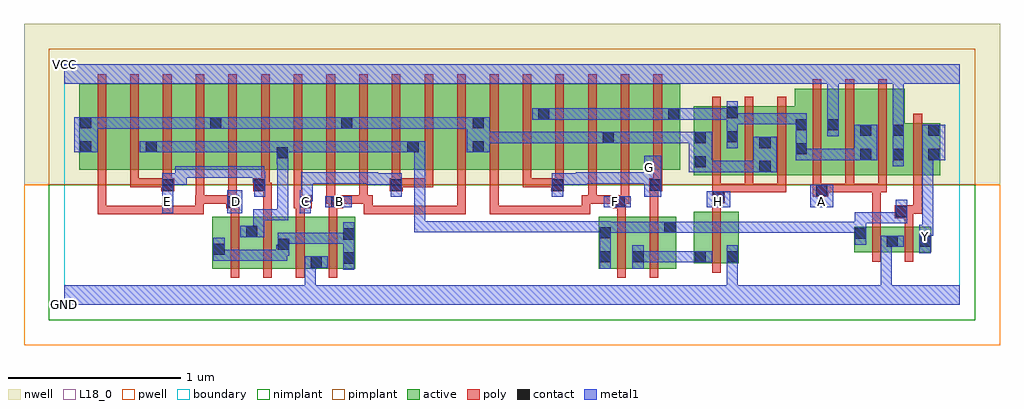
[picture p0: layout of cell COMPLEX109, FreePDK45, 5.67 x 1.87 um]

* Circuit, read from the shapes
.subckt COMPLEX109 A B C D E F G GND H VCC Y
M1 n1 D n2 VSUBS nfet w=0.3u l=0.05u
M2 n2 E n1 VSUBS nfet w=0.3u l=0.05u
M3 GND C n2 VSUBS nfet w=0.3u l=0.05u
M4 n2 B GND VSUBS nfet w=0.3u l=0.05u
M5 n3 F n1 VSUBS nfet w=0.3u l=0.05u
M6 n1 G n3 VSUBS nfet w=0.3u l=0.05u
M7 GND H n3 VSUBS nfet w=0.3u l=0.05u
M8 GND A n1 VSUBS nfet w=0.15u l=0.05u
M9 Y n1 GND VSUBS nfet w=0.15u l=0.05u
M10 n4 D n5 n6 pfet w=0.5u l=0.05u
M11 n1 E n4 n6 pfet w=0.5u l=0.05u
M12 n7 E n1 n6 pfet w=0.5u l=0.05u
M13 n5 D n7 n6 pfet w=0.5u l=0.05u
M14 n8 D n5 n6 pfet w=0.5u l=0.05u
M15 n1 E n8 n6 pfet w=0.5u l=0.05u
M16 n9 C n1 n6 pfet w=0.5u l=0.05u
M17 n5 B n9 n6 pfet w=0.5u l=0.05u
M18 n10 B n5 n6 pfet w=0.5u l=0.05u
M19 n1 C n10 n6 pfet w=0.5u l=0.05u
M20 n11 C n1 n6 pfet w=0.5u l=0.05u
M21 n5 B n11 n6 pfet w=0.5u l=0.05u
M22 n12 F n5 n6 pfet w=0.5u l=0.05u
M23 n13 G n12 n6 pfet w=0.5u l=0.05u
M24 n14 G n13 n6 pfet w=0.5u l=0.05u
M25 n5 F n14 n6 pfet w=0.5u l=0.05u
M26 n15 F n5 n6 pfet w=0.5u l=0.05u
M27 n13 G n15 n6 pfet w=0.5u l=0.05u
M28 n13 H n5 n6 pfet w=0.4u l=0.05u m=3
M29 VCC A n13 n6 pfet w=0.5u l=0.05u m=3
M30 Y n1 VCC n6 pfet w=0.3u l=0.05u
.ends

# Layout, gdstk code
import gdstk
lib = gdstk.Library(unit=1e-6, precision=1e-09)
def R(c, l, rs):  # rectangles x0, y0, x1, y1
    for r in rs: c.add(gdstk.rectangle(r[:2], r[2:], *l))
def A(c, l, x, y, w, h, nx, ny, dx, dy):  # array of equal rectangles
    R(c, l, [(x+i*dx, y+j*dy, x+i*dx+w, y+j*dy+h) for i in range(nx) for j in range(ny)])
active = (1, 0)
pwell = (2, 0)
nwell = (3, 0)
nimplant = (4, 0)
pimplant = (5, 0)
poly = (9, 0)
contact = (10, 0)
metal1 = (11, 0)
L18_0 = (18, 0)
boundary = (235, 0)

complex109 = lib.new_cell('COMPLEX109')
A(complex109, active, 1.832, 0.785, 0.23, 0.5, 3, 1, 0.38, 0)
A(complex109, active, 1.987, 0.785, 0.225, 0.5, 3, 1, 0.38, 0)
R(complex109, active, [(0.86,0.212,1.125,0.512), (1.05,0.212,1.31,0.512), (1.235,0.212,1.5,0.512), (1.235,0.212,1.31,0.497), (1.425,0.212,1.69,0.512), (1.425,0.212,1.5,0.377), (1.615,0.212,1.69,0.512), (3.105,0.212,3.37,0.512), (3.105,0.212,3.18,0.512), (3.295,0.212,3.555,0.512), (3.295,0.242,3.37,0.377), (3.657,0.242,3.732,0.392), (3.657,0.242,3.917,0.542), (3.842,0.242,3.917,0.392), (0.86,0.287,0.935,0.512), (4.587,0.305,4.847,0.455), (4.772,0.305,5.037,0.455), (4.772,0.305,4.847,0.407), (4.962,0.305,5.037,0.455), (3.48,0.33,3.555,0.512), (1.05,0.332,1.125,0.465), (4.587,0.38,4.662,0.455), (3.657,0.755,3.732,1.07), (3.657,0.755,3.917,1.155), (3.842,0.755,4.107,1.155), (4.032,0.755,4.317,1.155), (4.032,0.755,4.107,1.07), (4.242,0.755,4.502,1.255), (4.242,0.755,4.317,1.2), (4.427,0.755,4.692,1.255), (4.617,0.755,4.882,1.255), (4.807,0.755,4.882,1.055), (4.807,0.755,5.087,1.055), (5.012,0.755,5.087,1.055), (0.087,0.785,0.312,1.285), (0.087,0.785,0.192,1.2), (0.312,0.785,0.542,1.285), (0.467,0.785,0.692,1.285), (0.692,0.785,0.917,1.285), (0.842,0.785,1.072,1.285), (1.072,0.785,1.302,1.285), (1.227,0.785,1.452,1.285), (1.452,0.785,1.677,1.285), (1.602,0.785,1.832,1.285), (1.987,0.785,2.062,1.07), (2.972,0.785,3.197,1.285), (3.122,0.785,3.352,1.285), (3.352,0.785,3.577,1.285), (0.467,0.807,0.542,1.07), (0.842,0.807,0.917,1.2), (1.227,0.807,1.302,1.07), (1.602,0.807,1.677,1.2), (2.367,0.807,2.442,1.2), (2.747,0.807,2.822,1.2), (3.122,0.807,3.197,1.07), (3.502,0.807,3.577,1.2), (4.427,0.807,4.502,1.255), (4.617,0.807,4.692,1.2), (3.842,0.822,3.917,1.155)])
R(complex109, pwell, [(-0.235,-0.235,5.435,0.7)])
R(complex109, nwell, [(-0.235,0.7,5.435,1.635)])
R(complex109, nimplant, [(-0.09,-0.09,5.29,0.7)])
R(complex109, pimplant, [(-0.09,0.7,5.29,1.49)])
A(complex109, poly, 0.965, 0.157, 0.05, 0.41, 4, 1, 0.19, 0)
A(complex109, poly, 1.332, 0.587, 0.05, 0.193, 3, 1, 0.19, 0)
A(complex109, poly, 3.762, 0.655, 0.05, 0.095, 3, 1, 0.19, 0)
A(complex109, poly, 4.347, 0.655, 0.05, 0.095, 3, 1, 0.19, 0)
A(complex109, poly, 3.762, 0.7, 0.05, 0.51, 3, 1, 0.19, 0)
A(complex109, poly, 4.347, 0.7, 0.05, 0.61, 3, 1, 0.19, 0)
A(complex109, poly, 0.192, 0.73, 0.05, 0.61, 18, 1, 0.19, 0)
R(complex109, poly, [(3.21,0.157,3.26,0.567), (3.4,0.157,3.45,0.567), (3.762,0.187,3.812,0.597), (4.692,0.25,4.742,0.51), (4.882,0.25,4.932,0.51), (4.692,0.46,4.742,0.705), (4.882,0.46,4.932,0.555), (4.825,0.505,4.932,0.58), (0.965,0.517,1.015,0.612), (1.155,0.517,1.205,0.71), (1.345,0.517,1.395,0.612), (1.535,0.517,1.585,0.612), (3.21,0.517,3.26,0.612), (3.4,0.517,3.45,0.71), (0.192,0.527,0.242,0.577), (0.192,0.527,0.242,0.577), (0.192,0.527,0.242,0.577), (0.192,0.527,0.242,0.577), (0.192,0.527,0.242,0.577), (0.192,0.527,0.432,0.577), (0.192,0.527,0.242,0.78), (0.382,0.527,0.432,0.577), (0.382,0.527,0.565,0.577), (0.515,0.527,0.565,0.577), (0.515,0.527,0.565,0.577), (0.515,0.527,0.565,0.577), (0.515,0.527,0.81,0.577), (0.76,0.527,0.81,0.577), (0.76,0.527,0.81,0.577), (0.76,0.527,0.81,0.577), (0.76,0.527,0.81,0.637), (1.74,0.527,1.79,0.577), (1.74,0.527,1.79,0.637), (1.74,0.527,1.895,0.577), (1.845,0.527,1.895,0.577), (1.845,0.527,2.097,0.577), (2.047,0.527,2.097,0.577), (2.047,0.527,2.097,0.577), (2.047,0.527,2.097,0.577), (2.047,0.527,2.332,0.577), (2.282,0.527,2.332,0.577), (2.282,0.527,2.332,0.577), (2.282,0.527,2.332,0.577), (2.282,0.527,2.332,0.577), (2.282,0.527,2.332,0.577), (2.282,0.527,2.332,0.78), (2.472,0.527,2.522,0.577), (2.472,0.527,2.522,0.577), (2.472,0.527,2.522,0.577), (2.472,0.527,2.522,0.577), (2.472,0.527,2.522,0.577), (2.472,0.527,2.655,0.577), (2.472,0.527,2.522,0.78), (2.605,0.527,2.655,0.577), (2.605,0.527,2.845,0.577), (2.795,0.527,2.845,0.577), (2.795,0.527,2.845,0.577), (2.795,0.527,2.845,0.577), (2.795,0.527,3.055,0.577), (3.005,0.527,3.055,0.577), (3.005,0.527,3.055,0.637), (4.882,0.53,4.932,0.58), (4.882,0.53,4.982,0.58), (4.932,0.53,4.982,0.75), (3.762,0.547,3.812,0.642), (0.94,0.562,1.015,0.637), (1.332,0.562,1.437,0.637), (1.345,0.562,1.395,0.612), (1.345,0.562,1.395,0.612), (1.535,0.562,1.62,0.637), (3.185,0.562,3.26,0.637), (0.76,0.587,0.812,0.637), (0.762,0.587,1.002,0.637), (0.762,0.587,0.812,0.78), (0.952,0.587,1.002,0.637), (0.952,0.587,1.002,0.637), (0.952,0.587,1.002,0.637), (0.952,0.587,1.002,0.637), (0.952,0.587,1.002,0.78), (1.522,0.587,1.585,0.637), (1.535,0.587,1.585,0.637), (1.535,0.587,1.585,0.637), (1.535,0.587,1.585,0.637), (1.535,0.587,1.762,0.637), (1.712,0.587,1.762,0.637), (1.712,0.587,1.79,0.637), (1.74,0.587,1.79,0.637), (3.005,0.587,3.055,0.637), (3.005,0.587,3.092,0.637), (3.042,0.587,3.092,0.637), (3.042,0.587,3.092,0.78), (3.042,0.587,3.26,0.637), (3.21,0.587,3.26,0.637), (3.21,0.587,3.26,0.637), (3.21,0.587,3.26,0.637), (3.21,0.587,3.282,0.637), (3.232,0.587,3.282,0.78), (3.762,0.592,3.812,0.642), (3.762,0.592,3.812,0.642), (3.762,0.592,3.837,0.705), (4.347,0.63,4.437,0.705), (3.787,0.655,3.837,0.705), (3.787,0.655,3.837,0.705), (3.787,0.655,4.002,0.705), (3.952,0.655,4.002,0.705), (3.952,0.655,4.002,0.705), (3.952,0.655,4.002,0.705), (3.952,0.655,4.192,0.705), (4.142,0.655,4.192,0.705), (4.387,0.655,4.587,0.705), (4.537,0.655,4.587,0.705), (4.537,0.655,4.587,0.705), (4.537,0.655,4.587,0.705), (4.537,0.655,4.742,0.705), (4.692,0.655,4.742,0.705), (4.692,0.655,4.742,0.705), (4.692,0.655,4.742,0.705), (4.692,0.655,4.742,0.705), (4.692,0.655,4.777,0.705), (0.562,0.66,0.637,0.735), (1.097,0.66,1.192,0.735), (1.142,0.66,1.192,0.71), (1.142,0.66,1.205,0.71), (1.89,0.66,1.965,0.735), (2.827,0.66,2.902,0.735), (3.397,0.66,3.472,0.735), (3.4,0.66,3.45,0.71), (3.4,0.66,3.45,0.71), (0.382,0.685,0.432,0.735), (0.382,0.685,0.432,0.735), (0.382,0.685,0.432,0.735), (0.382,0.685,0.432,0.78), (0.382,0.685,0.612,0.735), (0.572,0.685,0.622,0.78), (1.142,0.685,1.192,0.78), (1.902,0.685,1.952,0.78), (1.915,0.685,1.965,0.735), (1.915,0.685,1.965,0.735), (1.915,0.685,2.142,0.735), (2.092,0.685,2.142,0.735), (2.092,0.685,2.142,0.78), (2.662,0.685,2.712,0.735), (2.662,0.685,2.712,0.78), (2.662,0.685,2.877,0.735), (2.827,0.685,2.877,0.735), (2.827,0.685,2.877,0.735), (2.852,0.685,2.902,0.78), (3.422,0.685,3.472,0.78), (4.932,0.7,4.982,1.11)])
R(complex109, contact, [(1.43,0.217,1.495,0.282), (1.62,0.24,1.685,0.305), (3.11,0.247,3.175,0.312), (3.3,0.247,3.365,0.312), (3.662,0.247,3.727,0.312), (3.847,0.247,3.912,0.312), (0.865,0.292,0.93,0.357), (1.24,0.32,1.305,0.385), (4.777,0.337,4.842,0.402), (4.967,0.337,5.032,0.402), (1.62,0.38,1.685,0.445), (4.592,0.385,4.657,0.45), (3.11,0.387,3.175,0.452), (1.055,0.395,1.12,0.46), (3.485,0.42,3.55,0.485), (4.83,0.51,4.895,0.575), (0.945,0.567,1.01,0.632), (1.367,0.567,1.432,0.632), (1.55,0.567,1.615,0.632), (3.19,0.567,3.255,0.632), (3.767,0.597,3.832,0.662), (4.367,0.635,4.432,0.7), (0.567,0.665,0.632,0.73), (1.102,0.665,1.167,0.73), (1.895,0.665,1.96,0.73), (2.832,0.665,2.897,0.73), (3.402,0.665,3.467,0.73), (4.037,0.772,4.102,0.837), (3.662,0.8,3.727,0.865), (4.622,0.842,4.687,0.907), (4.812,0.842,4.877,0.907), (5.017,0.842,5.082,0.907), (1.232,0.852,1.297,0.917), (4.247,0.875,4.312,0.94), (0.092,0.887,0.157,0.952), (0.472,0.887,0.537,0.952), (1.992,0.887,2.057,0.952), (2.372,0.887,2.437,0.952), (4.037,0.912,4.102,0.977), (3.127,0.94,3.192,1.005), (3.662,0.94,3.727,1.005), (3.847,0.945,3.912,1.01), (4.622,0.982,4.687,1.047), (4.812,0.982,4.877,1.047), (5.017,0.982,5.082,1.047), (4.247,1.015,4.312,1.08), (4.432,1.015,4.497,1.08), (0.847,1.025,0.912,1.09), (1.607,1.025,1.672,1.09), (0.092,1.027,0.157,1.092), (2.372,1.027,2.437,1.092), (2.752,1.077,2.817,1.142), (3.507,1.077,3.572,1.142), (3.847,1.085,3.912,1.15)])
R(complex109, metal1, [(0,0,5.2,0.115), (1.395,0.05,1.46,0.115), (1.395,0.05,1.46,0.115), (1.395,0.05,1.46,0.282), (3.847,0.05,3.912,0.115), (3.847,0.05,3.912,0.115), (3.847,0.05,3.912,0.277), (4.742,0.05,4.807,0.115), (4.742,0.05,4.807,0.115), (4.742,0.05,4.807,0.402), (1.62,0.205,1.685,0.48), (3.11,0.212,3.175,0.487), (3.3,0.212,3.365,0.347), (3.847,0.212,3.912,0.347), (1.395,0.217,1.53,0.282), (3.3,0.247,3.365,0.312), (3.3,0.247,3.365,0.312), (3.3,0.247,3.515,0.312), (3.45,0.247,3.515,0.312), (3.45,0.247,3.692,0.312), (3.627,0.247,3.762,0.312), (0.865,0.257,0.93,0.322), (0.865,0.257,0.93,0.322), (0.865,0.257,0.93,0.392), (0.865,0.257,1.085,0.322), (1.02,0.257,1.085,0.322), (1.02,0.257,1.295,0.322), (1.23,0.257,1.295,0.35), (1.23,0.285,1.305,0.35), (1.24,0.285,1.305,0.42), (4.967,0.302,5.032,0.437), (4.967,0.332,5.032,0.467), (4.742,0.337,4.807,0.402), (4.742,0.337,4.807,0.402), (4.742,0.337,4.877,0.402), (4.592,0.35,4.657,0.485), (1.24,0.355,1.442,0.42), (1.377,0.355,1.442,0.42), (1.377,0.355,1.442,0.42), (1.377,0.355,1.442,0.42), (1.377,0.355,1.685,0.42), (1.62,0.355,1.685,0.42), (1.62,0.355,1.685,0.42), (4.967,0.372,5.032,0.437), (1.02,0.395,1.162,0.46), (1.097,0.395,1.162,0.557), (4.967,0.402,5.032,0.467), (4.967,0.402,5.047,0.467), (4.982,0.402,5.047,0.907), (3.11,0.42,3.175,0.485), (3.11,0.42,3.175,0.485), (3.11,0.42,3.377,0.485), (3.312,0.42,3.377,0.485), (3.312,0.42,3.377,0.485), (3.312,0.42,3.377,0.485), (3.312,0.42,3.515,0.485), (3.45,0.42,3.585,0.485), (3.52,0.42,3.585,0.485), (3.52,0.42,3.585,0.485), (3.52,0.42,3.9,0.485), (3.835,0.42,3.9,0.485), (3.835,0.42,3.9,0.485), (3.835,0.42,3.9,0.485), (3.835,0.42,4.05,0.485), (3.985,0.42,4.05,0.485), (3.985,0.42,4.175,0.485), (4.11,0.42,4.175,0.485), (4.11,0.42,4.205,0.485), (4.14,0.42,4.205,0.485), (4.14,0.42,4.342,0.485), (4.277,0.42,4.342,0.485), (4.277,0.42,4.342,0.485), (4.277,0.42,4.342,0.485), (4.277,0.42,4.48,0.485), (4.415,0.42,4.48,0.485), (4.415,0.42,4.48,0.485), (4.415,0.42,4.48,0.485), (4.415,0.42,4.657,0.485), (4.592,0.42,4.657,0.485), (4.592,0.42,4.657,0.54), (2.032,0.422,2.097,0.487), (2.032,0.422,2.097,0.487), (2.032,0.422,2.097,0.487), (2.032,0.422,2.097,0.487), (2.032,0.422,2.097,0.487), (2.032,0.422,2.265,0.487), (2.032,0.422,2.097,0.952), (2.2,0.422,2.265,0.487), (2.2,0.422,2.265,0.487), (2.2,0.422,2.265,0.487), (2.2,0.422,2.472,0.487), (2.407,0.422,2.472,0.487), (2.407,0.422,2.472,0.487), (2.407,0.422,2.472,0.487), (2.407,0.422,2.61,0.487), (2.545,0.422,2.61,0.487), (2.545,0.422,2.61,0.487), (2.545,0.422,2.61,0.487), (2.545,0.422,2.747,0.487), (2.682,0.422,2.747,0.487), (2.682,0.422,2.747,0.487), (2.682,0.422,2.747,0.487), (2.682,0.422,2.99,0.487), (2.925,0.422,2.99,0.487), (2.925,0.422,3.035,0.487), (2.97,0.422,3.035,0.487), (2.97,0.422,3.175,0.487), (4.592,0.475,4.895,0.54), (4.83,0.475,4.895,0.54), (4.83,0.475,4.895,0.54), (4.83,0.475,4.895,0.54), (4.83,0.475,4.895,0.54), (4.83,0.475,4.895,0.61), (1.097,0.492,1.162,0.557), (1.097,0.492,1.295,0.557), (1.23,0.492,1.295,0.557), (1.23,0.492,1.3,0.557), (1.235,0.492,1.3,0.557), (1.235,0.492,1.3,0.882), (0.567,0.532,0.632,0.765), (0.945,0.532,1.032,0.667), (1.367,0.532,1.432,0.667), (1.515,0.567,1.67,0.632), (3.132,0.567,3.29,0.632), (3.732,0.567,3.867,0.662), (4.332,0.567,4.467,0.7), (1.367,0.602,1.442,0.667), (1.377,0.602,1.442,0.77), (1.102,0.63,1.167,0.777), (1.895,0.63,1.96,0.765), (2.832,0.63,2.897,0.765), (3.367,0.63,3.467,0.867), (0.567,0.7,0.71,0.765), (0.645,0.7,0.71,0.805), (1.757,0.7,1.822,0.77), (1.757,0.7,1.885,0.765), (1.82,0.7,1.885,0.765), (1.82,0.7,1.96,0.765), (2.832,0.7,3.02,0.765), (2.955,0.7,3.02,0.765), (2.955,0.7,3.035,0.765), (2.97,0.7,3.035,0.77), (1.377,0.705,1.685,0.77), (1.62,0.705,1.685,0.77), (1.62,0.705,1.685,0.77), (1.62,0.705,1.685,0.77), (1.62,0.705,1.822,0.77), (2.97,0.705,3.172,0.77), (3.107,0.705,3.172,0.77), (3.107,0.705,3.172,0.77), (3.107,0.705,3.172,0.77), (3.107,0.705,3.377,0.77), (3.312,0.705,3.377,0.77), (3.312,0.705,3.432,0.77), (1.095,0.712,1.167,0.777), (1.095,0.712,1.16,0.805), (0.645,0.74,0.792,0.805), (0.727,0.74,0.792,0.805), (0.727,0.74,0.947,0.805), (0.882,0.74,0.947,0.805), (0.882,0.74,0.947,0.805), (0.882,0.74,0.947,0.805), (0.882,0.74,1.16,0.805), (3.627,0.772,3.762,1.005), (3.697,0.772,3.762,0.837), (3.697,0.772,3.762,0.837), (3.697,0.772,3.9,0.837), (3.835,0.772,3.9,0.837), (3.835,0.772,4.067,0.837), (4.002,0.772,4.137,0.977), (4.002,0.772,4.067,0.837), (4.002,0.772,4.067,0.837), (4.812,0.807,4.877,1.082), (1.232,0.817,1.3,0.952), (1.235,0.817,1.3,0.882), (1.235,0.817,1.3,0.882), (4.247,0.84,4.312,1.115), (4.247,0.842,4.342,0.907), (4.277,0.842,4.342,0.907), (4.277,0.842,4.515,0.907), (4.45,0.842,4.515,0.907), (4.45,0.842,4.515,0.907), (4.45,0.842,4.515,0.907), (4.45,0.842,4.652,0.907), (4.587,0.842,4.722,1.047), (4.982,0.842,5.117,1.047), (0.057,0.887,0.192,1.092), (0.437,0.887,0.572,0.952), (0.507,0.887,0.572,0.952), (0.507,0.887,0.572,0.952), (0.507,0.887,0.74,0.952), (0.675,0.887,0.74,0.952), (0.675,0.887,0.792,0.952), (0.727,0.887,0.792,0.952), (0.727,0.887,0.947,0.952), (0.882,0.887,0.947,0.952), (0.882,0.887,0.947,0.952), (0.882,0.887,0.947,0.952), (0.882,0.887,1.085,0.952), (1.02,0.887,1.085,0.952), (1.02,0.887,1.295,0.952), (1.23,0.887,1.295,0.952), (1.23,0.887,1.297,0.952), (1.235,0.887,1.442,0.952), (1.377,0.887,1.442,0.952), (1.377,0.887,1.442,0.952), (1.377,0.887,1.442,0.952), (1.377,0.887,1.58,0.952), (1.515,0.887,1.58,0.952), (1.515,0.887,1.58,0.952), (1.515,0.887,1.58,0.952), (1.515,0.887,1.822,0.952), (1.757,0.887,1.822,0.952), (1.757,0.887,1.885,0.952), (1.82,0.887,1.885,0.952), (1.82,0.887,1.96,0.952), (1.895,0.887,1.96,0.952), (1.895,0.887,2.022,0.952), (1.957,0.887,2.097,0.952), (2.032,0.887,2.097,0.952), (2.032,0.887,2.097,0.952), (2.337,0.887,2.472,1.092), (3.847,0.91,3.912,1.185), (2.407,0.94,2.472,1.005), (2.407,0.94,2.472,1.005), (2.407,0.94,2.61,1.005), (2.545,0.94,2.61,1.005), (2.545,0.94,2.61,1.005), (2.545,0.94,2.61,1.005), (2.545,0.94,2.747,1.005), (2.682,0.94,2.747,1.005), (2.682,0.94,2.747,1.005), (2.682,0.94,2.747,1.005), (2.682,0.94,3.02,1.005), (2.955,0.94,3.02,1.005), (2.955,0.94,3.035,1.005), (2.97,0.94,3.035,1.005), (2.97,0.94,3.157,1.005), (3.092,0.94,3.227,1.005), (3.162,0.94,3.227,1.005), (3.162,0.94,3.227,1.005), (3.162,0.94,3.365,1.005), (3.3,0.94,3.365,1.005), (3.3,0.94,3.365,1.005), (3.3,0.94,3.365,1.005), (3.3,0.94,3.515,1.005), (3.45,0.94,3.515,1.005), (3.45,0.94,3.692,1.005), (4.432,0.98,4.497,1.115), (4.812,1.017,4.877,1.35), (0.127,1.025,0.192,1.09), (0.127,1.025,0.192,1.09), (0.127,1.025,0.33,1.09), (0.265,1.025,0.33,1.09), (0.265,1.025,0.33,1.09), (0.265,1.025,0.33,1.09), (0.265,1.025,0.467,1.09), (0.402,1.025,0.467,1.09), (0.402,1.025,0.467,1.09), (0.402,1.025,0.467,1.09), (0.402,1.025,0.74,1.09), (0.675,1.025,0.74,1.09), (0.675,1.025,0.792,1.09), (0.727,1.025,0.792,1.09), (0.727,1.025,0.877,1.09), (0.812,1.025,0.947,1.09), (0.882,1.025,0.947,1.09), (0.882,1.025,0.947,1.09), (0.882,1.025,1.085,1.09), (1.02,1.025,1.085,1.09), (1.02,1.025,1.295,1.09), (1.23,1.025,1.295,1.09), (1.23,1.025,1.3,1.09), (1.235,1.025,1.3,1.09), (1.235,1.025,1.442,1.09), (1.377,1.025,1.442,1.09), (1.377,1.025,1.442,1.09), (1.377,1.025,1.442,1.09), (1.377,1.025,1.637,1.09), (1.572,1.025,1.637,1.09), (1.572,1.025,1.637,1.09), (1.572,1.025,1.707,1.09), (1.642,1.025,1.822,1.09), (1.757,1.025,1.822,1.09), (1.757,1.025,1.885,1.09), (1.82,1.025,1.885,1.09), (1.82,1.025,1.96,1.09), (1.895,1.025,1.96,1.09), (1.895,1.025,2.097,1.09), (2.032,1.025,2.097,1.09), (2.032,1.025,2.097,1.09), (2.032,1.025,2.097,1.09), (2.032,1.025,2.235,1.09), (2.17,1.025,2.235,1.09), (2.17,1.025,2.235,1.09), (2.17,1.025,2.235,1.09), (2.17,1.025,2.402,1.09), (3.847,1.05,4.05,1.115), (3.985,1.05,4.05,1.115), (3.985,1.05,4.175,1.115), (4.11,1.05,4.175,1.115), (4.11,1.05,4.205,1.115), (4.14,1.05,4.205,1.115), (4.14,1.05,4.312,1.115), (4.432,1.05,4.497,1.35), (2.717,1.077,2.852,1.142), (2.787,1.077,2.852,1.142), (2.787,1.077,2.852,1.142), (2.787,1.077,3.02,1.142), (2.955,1.077,3.02,1.142), (2.955,1.077,3.035,1.142), (2.97,1.077,3.035,1.142), (2.97,1.077,3.172,1.142), (3.107,1.077,3.172,1.142), (3.107,1.077,3.172,1.142), (3.107,1.077,3.172,1.142), (3.107,1.077,3.365,1.142), (3.3,1.077,3.365,1.142), (3.3,1.077,3.365,1.142), (3.3,1.077,3.365,1.142), (3.3,1.077,3.537,1.142), (3.472,1.077,3.607,1.142), (3.542,1.077,3.607,1.142), (3.542,1.077,3.607,1.142), (3.542,1.077,3.912,1.142), (3.847,1.077,3.912,1.142), (3.847,1.077,3.912,1.142), (0,1.285,5.2,1.4)])
A(complex109, L18_0, 0.567, 0.567, 0.065, 0.065, 3, 1, 0.4, 0)
A(complex109, L18_0, 3.167, 0.567, 0.065, 0.065, 3, 1, 0.6, 0)
R(complex109, L18_0, [(0,0,5.2,0.115), (1.395,0.05,1.46,0.115), (1.395,0.05,1.46,0.115), (1.395,0.05,1.46,0.282), (3.847,0.05,3.912,0.115), (3.847,0.05,3.912,0.115), (3.847,0.05,3.912,0.277), (4.742,0.05,4.807,0.115), (4.742,0.05,4.807,0.115), (4.742,0.05,4.807,0.402), (3.847,0.212,3.912,0.347), (1.395,0.217,1.53,0.282), (4.967,0.302,5.032,0.437), (4.967,0.332,5.032,0.467), (4.742,0.337,4.807,0.402), (4.742,0.337,4.807,0.402), (4.742,0.337,4.877,0.402), (4.967,0.367,5.032,0.432), (4.967,0.372,5.032,0.437), (4.967,0.402,5.032,0.467), (4.967,0.402,5.047,0.467), (4.982,0.402,5.047,0.907), (0.567,0.532,0.632,0.765), (0.945,0.532,1.032,0.667), (1.367,0.532,1.432,0.667), (1.515,0.567,1.67,0.632), (1.567,0.567,1.632,0.632), (3.132,0.567,3.29,0.632), (3.732,0.567,3.867,0.662), (4.332,0.567,4.467,0.7), (1.367,0.602,1.442,0.667), (1.377,0.602,1.442,0.77), (1.102,0.63,1.167,0.777), (1.895,0.63,1.96,0.765), (2.832,0.63,2.897,0.765), (3.367,0.63,3.467,0.867), (0.567,0.7,0.71,0.765), (0.645,0.7,0.71,0.805), (1.757,0.7,1.822,0.77), (1.757,0.7,1.885,0.765), (1.82,0.7,1.885,0.765), (1.82,0.7,1.96,0.765), (2.832,0.7,3.02,0.765), (2.955,0.7,3.02,0.765), (2.955,0.7,3.035,0.765), (2.97,0.7,3.035,0.77), (1.377,0.705,1.685,0.77), (1.62,0.705,1.685,0.77), (1.62,0.705,1.685,0.77), (1.62,0.705,1.685,0.77), (1.62,0.705,1.822,0.77), (2.97,0.705,3.172,0.77), (3.107,0.705,3.172,0.77), (3.107,0.705,3.172,0.77), (3.107,0.705,3.172,0.77), (3.107,0.705,3.377,0.77), (3.312,0.705,3.377,0.77), (3.312,0.705,3.432,0.77), (1.095,0.712,1.16,0.805), (1.095,0.712,1.167,0.777), (0.645,0.74,0.792,0.805), (0.727,0.74,0.792,0.805), (0.727,0.74,0.947,0.805), (0.882,0.74,0.947,0.805), (0.882,0.74,0.947,0.805), (0.882,0.74,0.947,0.805), (0.882,0.74,1.16,0.805), (3.367,0.767,3.432,0.832), (4.812,0.807,4.877,1.082), (4.982,0.842,5.117,1.047), (4.432,0.98,4.497,1.115), (4.812,1.017,4.877,1.35), (4.432,1.05,4.497,1.35), (0,1.285,5.2,1.4)])
R(complex109, boundary, [(0,0,5.2,1.4)])
complex109.add(gdstk.Label('A', (4.4,0.6), layer=11, texttype=0))
complex109.add(gdstk.Label('B', (1.6,0.6), layer=11, texttype=0))
complex109.add(gdstk.Label('C', (1.4,0.6), layer=11, texttype=0))
complex109.add(gdstk.Label('D', (1,0.6), layer=11, texttype=0))
complex109.add(gdstk.Label('E', (0.6,0.6), layer=11, texttype=0))
complex109.add(gdstk.Label('F', (3.2,0.6), layer=11, texttype=0))
complex109.add(gdstk.Label('G', (3.4,0.8), layer=11, texttype=0))
complex109.add(gdstk.Label('H', (3.8,0.6), layer=11, texttype=0))
complex109.add(gdstk.Label('Y', (5,0.4), layer=11, texttype=0))
complex109.add(gdstk.Label('VCC', (0,1.4), layer=11, texttype=0))
complex109.add(gdstk.Label('GND', (0,0), layer=11, texttype=0))

lib.write_gds('COMPLEX109.gds')
